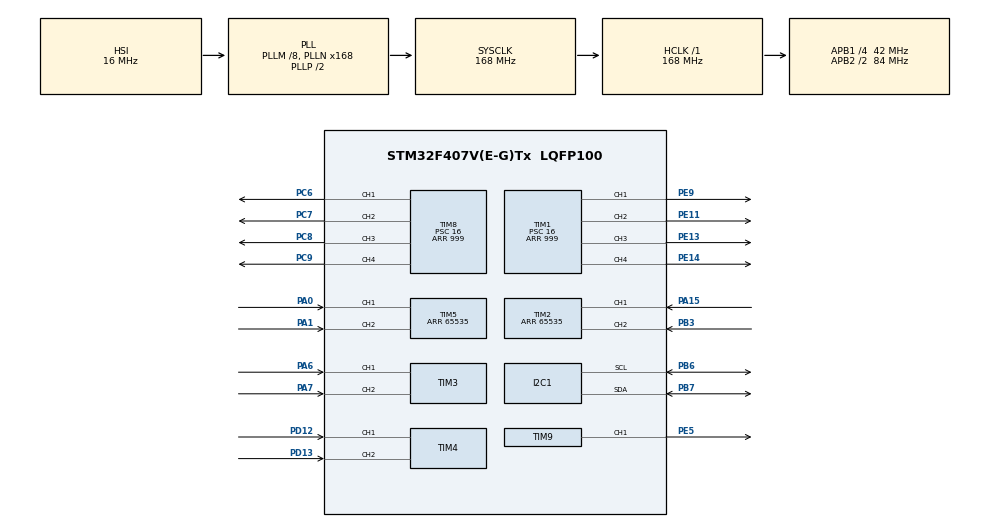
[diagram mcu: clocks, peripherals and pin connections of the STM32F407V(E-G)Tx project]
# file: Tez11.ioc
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Mcu.Family=STM32F4
Mcu.Name=STM32F407V(E-G)Tx
Mcu.Package=LQFP100
NVIC.PriorityGroup=NVIC_PRIORITYGROUP_4
PA0-WKUP.Signal=S_TIM5_CH1
PA1.Signal=S_TIM5_CH2
PA13.Mode=Serial_Wire
PA13.Signal=SYS_JTMS-SWDIO
PA14.Mode=Serial_Wire
PA14.Signal=SYS_JTCK-SWCLK
PA15.Signal=S_TIM2_CH1_ETR
PA6.Signal=S_TIM3_CH1
PA7.Signal=S_TIM3_CH2
PB3.Signal=S_TIM2_CH2
PB6.Mode=I2C
PB6.Signal=I2C1_SCL
PB7.Mode=I2C
PB7.Signal=I2C1_SDA
PC6.Signal=S_TIM8_CH1
PC7.Signal=S_TIM8_CH2
PC8.Signal=S_TIM8_CH3
PC9.Signal=S_TIM8_CH4
PD12.Signal=S_TIM4_CH1
PD13.Signal=S_TIM4_CH2
PE11.Signal=S_TIM1_CH2
PE13.Signal=S_TIM1_CH3
PE14.Signal=S_TIM1_CH4
PE5.Signal=S_TIM9_CH1
PE9.Signal=S_TIM1_CH1
PH0-OSC_IN.Mode=HSE-External-Oscillator
PH0-OSC_IN.Signal=RCC_OSC_IN
PH1-OSC_OUT.Mode=HSE-External-Oscillator
PH1-OSC_OUT.Signal=RCC_OSC_OUT
ProjectManager.HeapSize=0x200
ProjectManager.StackSize=0x400
ProjectManager.TargetToolchain=STM32CubeIDE
RCC.48MHZClocksFreq_Value=84000000
RCC.AHBFreq_Value=168000000
RCC.APB1CLKDivider=RCC_HCLK_DIV4
RCC.APB1Freq_Value=42000000
RCC.APB1TimFreq_Value=84000000
RCC.APB2CLKDivider=RCC_HCLK_DIV2
RCC.APB2Freq_Value=84000000
RCC.APB2TimFreq_Value=168000000
RCC.CortexFreq_Value=168000000
RCC.HCLKFreq_Value=168000000
RCC.HSE_VALUE=25000000
RCC.HSI_VALUE=16000000
RCC.LSE_VALUE=32768
RCC.PLLM=8
RCC.PLLN=168
RCC.SYSCLKFreq_VALUE=168000000
RCC.SYSCLKSource=RCC_SYSCLKSOURCE_PLLCLK
RCC.VCOOutputFreq_Value=336000000
SH.S_TIM1_CH1.0=TIM1_CH1,PWM Generation1 CH1
SH.S_TIM1_CH2.0=TIM1_CH2,PWM Generation2 CH2
SH.S_TIM1_CH3.0=TIM1_CH3,PWM Generation3 CH3
SH.S_TIM1_CH4.0=TIM1_CH4,PWM Generation4 CH4
SH.S_TIM2_CH1_ETR.0=TIM2_CH1,Encoder_Interface
SH.S_TIM2_CH2.0=TIM2_CH2,Encoder_Interface
SH.S_TIM3_CH1.0=TIM3_CH1,Encoder_Interface
SH.S_TIM3_CH2.0=TIM3_CH2,Encoder_Interface
SH.S_TIM4_CH1.0=TIM4_CH1,Encoder_Interface
SH.S_TIM4_CH2.0=TIM4_CH2,Encoder_Interface
SH.S_TIM5_CH1.0=TIM5_CH1,Encoder_Interface
SH.S_TIM5_CH2.0=TIM5_CH2,Encoder_Interface
SH.S_TIM8_CH1.0=TIM8_CH1,PWM Generation1 CH1
SH.S_TIM8_CH2.0=TIM8_CH2,PWM Generation2 CH2
SH.S_TIM8_CH3.0=TIM8_CH3,PWM Generation3 CH3
SH.S_TIM8_CH4.0=TIM8_CH4,PWM Generation4 CH4
SH.S_TIM9_CH1.0=TIM9_CH1,PWM Generation1 CH1
TIM1.Channel-PWM\ Generation1\ CH1=TIM_CHANNEL_1
TIM1.Channel-PWM\ Generation2\ CH2=TIM_CHANNEL_2
TIM1.Channel-PWM\ Generation3\ CH3=TIM_CHANNEL_3
TIM1.Channel-PWM\ Generation4\ CH4=TIM_CHANNEL_4
TIM1.Period=999
TIM1.Prescaler=16
TIM2.EncoderMode=TIM_ENCODERMODE_TI12
TIM2.IC1Filter=10
TIM2.IC2Filter=10
TIM2.Period=65535
TIM3.EncoderMode=TIM_ENCODERMODE_TI12
TIM3.IC1Filter=10
TIM3.IC2Filter=10
TIM4.EncoderMode=TIM_ENCODERMODE_TI12
TIM4.IC1Filter=10
TIM4.IC2Filter=10
TIM5.EncoderMode=TIM_ENCODERMODE_TI12
TIM5.IC1Filter=10
TIM5.IC2Filter=10
TIM5.Period=65535
TIM8.Channel-PWM\ Generation1\ CH1=TIM_CHANNEL_1
TIM8.Channel-PWM\ Generation2\ CH2=TIM_CHANNEL_2
TIM8.Channel-PWM\ Generation3\ CH3=TIM_CHANNEL_3
TIM8.Channel-PWM\ Generation4\ CH4=TIM_CHANNEL_4
TIM8.Period=999
TIM8.Prescaler=16
TIM9.Channel-PWM\ Generation1\ CH1=TIM_CHANNEL_1
TIM9.Period=19999
TIM9.Prescaler=167
VP_TIM1_VS_ClockSourceINT.Mode=Internal
VP_TIM8_VS_ClockSourceINT.Mode=Internal
VP_TIM9_VS_ClockSourceINT.Mode=Internal
board=custom

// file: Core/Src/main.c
/* USER CODE BEGIN Header */
/**
  ******************************************************************************
  * @file           : main.c
  * @brief          : Main program body
  ******************************************************************************
  * @attention
  *
  * Copyright (c) 2025 STMicroelectronics.
  * All rights reserved.
  *
  * This software is licensed under terms that can be found in the LICENSE file
  * in the root directory of this software component.
  * If no LICENSE file comes with this software, it is provided AS-IS.
  *
  ******************************************************************************
  */
/* USER CODE END Header */
#include "main.h"

/* USER CODE BEGIN Includes */

#include <math.h> // Sin, Cos, Atan2 için şart!
#include <stdlib.h> // abs() fonksiyonu için

// --- ROBOT FİZİKSEL ÖLÇÜLERİ (mm) ---
#define D1_BASE_YUKSEKLIK  43.0f
#define A2_OMUZ_UZUNLUK    155.2f
#define A3_DIRSEK_UZUNLUK  128.2f
#define A4_BILEK_UZUNLUK   193.4f

// Matematik Sabitleri
#define PI 3.14159265f
#define RAD2DEG 57.2957795f
#define DEG2RAD 0.01745329f

/* USER CODE END Includes */

/* USER CODE BEGIN PTD */
// Durum Tanımları

typedef struct {
    // --- DONANIM ---
    TIM_HandleTypeDef *pwm_timer;
    uint32_t pwm_ch_ileri;
    uint32_t pwm_ch_geri;
    TIM_HandleTypeDef *enc_timer;

    // --- AYARLAR ---
    float Kp;
    float Ki;
    float Kd;
    int max_hiz;
    int min_hiz;
    int olu_bolge;

    int yon_carpani; // 1: Normal, -1: Ters (Hem encoder hem motoru tersler)

    // --- KONTROL ---
    volatile float hedef_aci;
    volatile float anlik_aci;  // <--- YENİ: ŞU ANKİ AÇI (Debug için)
    volatile int32_t hedef_pulse;
    volatile int32_t anlik_pulse;
    volatile int32_t hata;

    // --- PID HAFIZASI ---
    float toplam_hata;
    float onceki_hata;

} RobotEklemi;

/* USER CODE END PTD */

I2C_HandleTypeDef hi2c1;

TIM_HandleTypeDef htim1;
TIM_HandleTypeDef htim2;
TIM_HandleTypeDef htim3;
TIM_HandleTypeDef htim4;
TIM_HandleTypeDef htim5;
TIM_HandleTypeDef htim8;
TIM_HandleTypeDef htim9;

/* USER CODE BEGIN PV */

// Global Değişkenler
RobotEklemi robot[4]; // 0:Taban, 1:Omuz, 2:Dirsek, 3:Bilek

// DİKKAT: Kalibrasyon sonucuna göre bunu değiştireceğiz!
// Şimdilik eski hesap dursun. (5 Derece testi ile güncelleyeceğiz)
float ADIM_KATSAYISI = 20.53f;

// Kinematik için Ofsetler (Gerekirse açılar saparsa buradan düzeltilir)
// Örn: Robot dik dururken encoder 0 ise ama matematik 90 diyorsa, buraya 90 yazarız.
float OFFSET_TABAN = 0.0f;
float OFFSET_OMUZ = 0.0f;
float OFFSET_DIRSEK = 0.0f;
float OFFSET_BILEK = -10.0f;

// 1. Sensör Adresleri (Datasheet'ten aldık)
#define TCS34725_ADDRESS (0x29 << 1)
#define TCS34725_ID      0x12        // Kimlik Register Adresi (Yeni)
#define TCS34725_COMMAND 0x80        // Komut biti (Yeni)
#define TCS34725_ENABLE  0x00
#define TCS34725_ATIME   0x01
#define TCS34725_CDATAL  0x14
// 3. Sensör Kimliği (Bağlantı Testi İçin)
// Eğer bağlantı sağlamsa bu değişken 0x44 (68) olacak.
volatile uint8_t sensor_id = 0;
// Sensör Verileri (Live Watch)
volatile uint16_t renk_clear, renk_kirmizi, renk_yesil, renk_mavi;
volatile int hedef_kutu = 0;

/* USER CODE END PV */

void SystemClock_Config(void);
static void MX_GPIO_Init(void);
static void MX_TIM1_Init(void);
static void MX_TIM2_Init(void);
static void MX_TIM3_Init(void);
static void MX_TIM4_Init(void);
static void MX_TIM5_Init(void);
static void MX_TIM8_Init(void);
static void MX_I2C1_Init(void);
static void MX_TIM9_Init(void);
/* USER CODE BEGIN PFP */

void Motor_Guncelle(RobotEklemi *eklem);
void Robotu_Senkron_Tasi(float aci0, float aci1, float aci2, float aci3);
int Hareket_Tamamlandi_Mi(void);
void IK_Git(float x, float y, float z, float phi_derece);
void Senaryoyu_Baslat(void);
void Hedefe_Yavas_Git(float aci0, float aci1, float aci2, float aci3, int bekleme_hizi_ms);
void IK_ile_Yavas_Git(float x, float y, float z, float phi_derece, int bekleme_hizi_ms);
// --- YENİ KONUM FONKSİYONLARI ---
void Git_Home(void);
void Git_Hazne(void);
void Git_Kutu_1(void);
void Git_Kutu_2(void);
void Git_Kutu_3(void);
void Git_Kutu_4(void);

// --YERİNDE KALMASI İÇİN--
void Aktif_Bekle(int sure_ms);

/* SERVO AYARLARI (MG90S - Sürekli Dönen Tip İçin) */
#define SERVO_TIMER     &htim9         // Senin Servo Timer'ın hangisiyse onu yaz (htim1, htim9 vb.)
#define SERVO_KANAL     TIM_CHANNEL_1  // Bağladığın Kanal (CH1, CH2 vb.)
//Servo
void Gripper_Ac(void);
void Gripper_Kapat(void);
void Servo_Pulse_Ver(uint32_t pulse);
// Arduino'daki değerlerin karşılığı:
#define SERVO_DUR_PULSE   1500  // (90 Derece) - Motoru Kilitler/Durdurur
#define SERVO_AC_PULSE    2000  // (113 Derece) - Sola yavaşça döner
#define SERVO_KAPAT_PULSE 1000  // (72 Derece) - Sağa yavaşça döner

//  Sensör
void TCS34725_Baslat(void);
void TCS34725_Oku(void);
int Sensor_Kutu_Var_Mi(void);
int Rengi_Analiz_Et(void);
/* USER CODE END PFP */

int main(void)
{

  /* MCU Configuration--------------------------------------------------------*/

  /* Reset of all peripherals, Initializes the Flash interface and the Systick. */

	HAL_Init();

  /* Configure the system clock */
  SystemClock_Config();

  /* Initialize all configured peripherals */
  MX_GPIO_Init();
  MX_TIM1_Init();
  MX_TIM2_Init();
  MX_TIM3_Init();
  MX_TIM4_Init();
  MX_TIM5_Init();
  MX_TIM8_Init();
  MX_I2C1_Init();
  MX_TIM9_Init();
  /* USER CODE BEGIN 2 */

  // --- A) DONANIM BAŞLATMA ---
    HAL_TIM_PWM_Start(&htim8, TIM_CHANNEL_1); HAL_TIM_PWM_Start(&htim8, TIM_CHANNEL_2);
    HAL_TIM_PWM_Start(&htim8, TIM_CHANNEL_3); HAL_TIM_PWM_Start(&htim8, TIM_CHANNEL_4);
    HAL_TIM_PWM_Start(&htim1, TIM_CHANNEL_1); HAL_TIM_PWM_Start(&htim1, TIM_CHANNEL_2);
    HAL_TIM_PWM_Start(&htim1, TIM_CHANNEL_3); HAL_TIM_PWM_Start(&htim1, TIM_CHANNEL_4);

    HAL_TIM_Encoder_Start(&htim2, TIM_CHANNEL_ALL);
    HAL_TIM_Encoder_Start(&htim5, TIM_CHANNEL_ALL);
    HAL_TIM_Encoder_Start(&htim3, TIM_CHANNEL_ALL);
    HAL_TIM_Encoder_Start(&htim4, TIM_CHANNEL_ALL);

    __HAL_TIM_MOE_ENABLE(&htim1);
    __HAL_TIM_MOE_ENABLE(&htim8);

    // Sensörü Başlat (I2C)
    TCS34725_Baslat();

    // --- B) MOTOR AYARLARI (GÜNCEL & GÜVENLİ) ---

    // MOTOR 0: TABAN
    robot[0].pwm_timer = &htim8; robot[0].pwm_ch_ileri = TIM_CHANNEL_1; robot[0].pwm_ch_geri = TIM_CHANNEL_2;
    robot[0].enc_timer = &htim2;
    robot[0].yon_carpani = 1; // <-- BU DÜZ KALSIN
    robot[0].Kp = 1.5; robot[0].Ki = 0.08; robot[0].Kd = 90.0; // Taban yanal yük taşır, Ki kapalı
    robot[0].max_hiz = 350; robot[0].min_hiz = 0.05; robot[0].olu_bolge = 5;

    // MOTOR 1: OMUZ (Kritik - Ki SIFIRLANDI)
    robot[1].pwm_timer = &htim8; robot[1].pwm_ch_ileri = TIM_CHANNEL_3; robot[1].pwm_ch_geri = TIM_CHANNEL_4;
    robot[1].enc_timer = &htim5;
    robot[1].yon_carpani = -1; // <-- BU TERSLENMELİ
    robot[1].Kp = 3.80; robot[1].Ki = 0.20; robot[1].Kd = 78.0; // Yüksek Kd frenleme yapar
    robot[1].max_hiz = 500; robot[1].min_hiz = 270.0; robot[1].olu_bolge = 4;

    // MOTOR 2: DİRSEK
    robot[2].pwm_timer = &htim1; robot[2].pwm_ch_ileri = TIM_CHANNEL_1; robot[2].pwm_ch_geri = TIM_CHANNEL_2;
    robot[2].enc_timer = &htim3;
    robot[2].yon_carpani = 1; // <-- BU DÜZ KALSIN
    robot[2].Kp = 2.38; robot[2].Ki = 0.08; robot[2].Kd = 52.0;
    robot[2].max_hiz = 350; robot[2].min_hiz = 250; robot[2].olu_bolge = 5;

    // MOTOR 3: BİLEK
    robot[3].pwm_timer = &htim1; robot[3].pwm_ch_ileri = TIM_CHANNEL_3; robot[3].pwm_ch_geri = TIM_CHANNEL_4;
    robot[3].enc_timer = &htim4;
    robot[3].yon_carpani = -1; // <-- BU TERSLENMELİ
    robot[3].Kp = 1.2; robot[3].Ki = 0.03; robot[3].Kd = 30.0;
    robot[3].max_hiz = 300; robot[3].min_hiz = 150; robot[3].olu_bolge = 5;

  /* USER CODE END 2 */

  /* Infinite loop */
  /* USER CODE BEGIN WHILE */

    // ---------------------------------------------------------
        // 1. AŞAMA: GÜVENLİ AÇILIŞ (Mevcut Konumu Kilitle) 🔒
        // ---------------------------------------------------------
        for(int i=0; i<4; i++) {
            // Tüm encoderları (16-bit/32-bit fark etmez) standart oku
            int32_t anlik_konum;
            if(robot[i].enc_timer->Instance == TIM3 || robot[i].enc_timer->Instance == TIM4)
                 anlik_konum = (int32_t)((int16_t)__HAL_TIM_GET_COUNTER(robot[i].enc_timer));
            else anlik_konum = (int32_t)__HAL_TIM_GET_COUNTER(robot[i].enc_timer);

            // ---> BURASI ÖNEMLİ: Açılışta da konumu yön ayarına göre düzelt <---
                anlik_konum = anlik_konum * robot[i].yon_carpani;

            // Hedefi anlık konuma eşitle (Hata = 0)
            robot[i].anlik_pulse = anlik_konum;
            robot[i].hedef_pulse = anlik_konum;

            // Açıyı güncelle (Yoksa motor kendini 0 sanıp fırlar!)
            robot[i].hedef_aci = (float)anlik_konum / ADIM_KATSAYISI;
            robot[i].hedef_aci = robot[i].anlik_aci;

            robot[i].toplam_hata = 0;
            robot[i].onceki_hata = 0;
        }

        // ---------------------------------------------------------
        // 2. AŞAMA: 2 SANİYE ISINMA (Active Hold) ⏳
        // ---------------------------------------------------------
        // Elini çekmen için süre. Motorlar seni itecek, düşmeyecek.
        uint32_t baslangic = HAL_GetTick();
        while((HAL_GetTick() - baslangic) < 2000) {
            for(int i=0; i<4; i++) Motor_Guncelle(&robot[i]);
            HAL_Delay(10);
        }

        // =========================================================
            // 🚀 3. AŞAMA: GÖREV ALANI (GÜNCELLENDİ)
            // =========================================================

            // ÖRNEK: Home'a git ve 5 saniye orada KİLİTLİ kal.

            // 1. Fonksiyonu çağır (Gidip duracak)
        //    Git_Home();
            // 2. Beklerken SALMAMASI için Aktif_Bekle kullan
      //      Aktif_Bekle(5000); // 5 saniye boyunca PID çalışır, kol düşmez.
    //        Git_Kutu_1();
    //        Aktif_Bekle(5000);
    //        Git_Home();
            // ---------------------------------------------------------
            // ÖRNEK 2: Hazneye git
            // Git_Hazne();
            // Aktif_Bekle(2000);

            // =========================================================
	      Git_Home();
	      Aktif_Bekle(2000);
	      Gripper_Ac();
  while (1)
  {
	  // PID sürekli canlı kalsın (Robot kendini tutsun)
	  //      for(int i=0; i<4; i++)Motor_Guncelle(&robot[i]);
	  //      HAL_Delay(1);
	  //TCS34725_Oku();
	  //Rengi_Analiz_Et();

	      // 2. ADIM: RENK ANALİZİ YAP
	      hedef_kutu = Rengi_Analiz_Et();
	      // --- SENARYO A: KUTU YOK ---
	          if (hedef_kutu == 0) {
	               // Kutu yoksa boşuna yorulma, 1 saniye bekle tekrar bak
	               Aktif_Bekle(1000);
	               // (Döngü başa döner, robot haznede beklemeye devam eder)
	          }
	          // --- SENARYO B: KUTU VAR (RENK BULUNDU) ---
	          else {
	        	  Aktif_Bekle(2000);
                  Git_Hazne();
                  Aktif_Bekle(2000);
                  Gripper_Kapat();
                  Aktif_Bekle(2000);
                  Git_Home();
                  Aktif_Bekle(2000);
                  // 3. Rengine Göre Kutuya Git
                            if (hedef_kutu == 1) {
                                Git_Kutu_1(); // Kırmızı
                                Aktif_Bekle(2000);
                            }
                            else if (hedef_kutu == 2) {
                                Git_Kutu_2(); // Mavi
                                Aktif_Bekle(2000);
                            }
                            else if (hedef_kutu == 3) {
                                Git_Kutu_3(); // Yeşil
                                Aktif_Bekle(2000);
                            }
                            else {
                                Git_Kutu_4(); // Sarı
                                Aktif_Bekle(2000);
                            }
                  Gripper_Ac();
                  Aktif_Bekle(2000);
                  Gripper_Kapat();
                  Aktif_Bekle(1000);
                  Git_Home();
                  Aktif_Bekle(1000);
                  Gripper_Ac();
                  Aktif_Bekle(1000);
	          }

    /* USER CODE END WHILE */

  }
}

void SystemClock_Config(void)
{
  RCC_OscInitTypeDef RCC_OscInitStruct = {0};
  RCC_ClkInitTypeDef RCC_ClkInitStruct = {0};

  /** Configure the main internal regulator output voltage
  */
  __HAL_RCC_PWR_CLK_ENABLE();
  __HAL_PWR_VOLTAGESCALING_CONFIG(PWR_REGULATOR_VOLTAGE_SCALE1);

  /** Initializes the RCC Oscillators according to the specified parameters
  * in the RCC_OscInitTypeDef structure.
  */
  RCC_OscInitStruct.OscillatorType = RCC_OSCILLATORTYPE_HSI;
  RCC_OscInitStruct.HSIState = RCC_HSI_ON;
  RCC_OscInitStruct.HSICalibrationValue = RCC_HSICALIBRATION_DEFAULT;
  RCC_OscInitStruct.PLL.PLLState = RCC_PLL_ON;
  RCC_OscInitStruct.PLL.PLLSource = RCC_PLLSOURCE_HSI;
  RCC_OscInitStruct.PLL.PLLM = 8;
  RCC_OscInitStruct.PLL.PLLN = 168;
  RCC_OscInitStruct.PLL.PLLP = RCC_PLLP_DIV2;
  RCC_OscInitStruct.PLL.PLLQ = 4;
  if (HAL_RCC_OscConfig(&RCC_OscInitStruct) != HAL_OK)
  {
    Error_Handler();
  }

  /** Initializes the CPU, AHB and APB buses clocks
  */
  RCC_ClkInitStruct.ClockType = RCC_CLOCKTYPE_HCLK|RCC_CLOCKTYPE_SYSCLK
                              |RCC_CLOCKTYPE_PCLK1|RCC_CLOCKTYPE_PCLK2;
  RCC_ClkInitStruct.SYSCLKSource = RCC_SYSCLKSOURCE_PLLCLK;
  RCC_ClkInitStruct.AHBCLKDivider = RCC_SYSCLK_DIV1;
  RCC_ClkInitStruct.APB1CLKDivider = RCC_HCLK_DIV4;
  RCC_ClkInitStruct.APB2CLKDivider = RCC_HCLK_DIV2;

  if (HAL_RCC_ClockConfig(&RCC_ClkInitStruct, FLASH_LATENCY_5) != HAL_OK)
  {
    Error_Handler();
  }
}

static void MX_I2C1_Init(void)
{

  hi2c1.Instance = I2C1;
  hi2c1.Init.ClockSpeed = 100000;
  hi2c1.Init.DutyCycle = I2C_DUTYCYCLE_2;
  hi2c1.Init.OwnAddress1 = 0;
  hi2c1.Init.AddressingMode = I2C_ADDRESSINGMODE_7BIT;
  hi2c1.Init.DualAddressMode = I2C_DUALADDRESS_DISABLE;
  hi2c1.Init.OwnAddress2 = 0;
  hi2c1.Init.GeneralCallMode = I2C_GENERALCALL_DISABLE;
  hi2c1.Init.NoStretchMode = I2C_NOSTRETCH_DISABLE;
  if (HAL_I2C_Init(&hi2c1) != HAL_OK)
  {
    Error_Handler();
  }

}

static void MX_TIM1_Init(void)
{

  TIM_ClockConfigTypeDef sClockSourceConfig = {0};
  TIM_MasterConfigTypeDef sMasterConfig = {0};
  TIM_OC_InitTypeDef sConfigOC = {0};
  TIM_BreakDeadTimeConfigTypeDef sBreakDeadTimeConfig = {0};

  htim1.Instance = TIM1;
  htim1.Init.Prescaler = 16;
  htim1.Init.CounterMode = TIM_COUNTERMODE_UP;
  htim1.Init.Period = 999;
  htim1.Init.ClockDivision = TIM_CLOCKDIVISION_DIV1;
  htim1.Init.RepetitionCounter = 0;
  htim1.Init.AutoReloadPreload = TIM_AUTORELOAD_PRELOAD_DISABLE;
  if (HAL_TIM_Base_Init(&htim1) != HAL_OK)
  {
    Error_Handler();
  }
  sClockSourceConfig.ClockSource = TIM_CLOCKSOURCE_INTERNAL;
  if (HAL_TIM_ConfigClockSource(&htim1, &sClockSourceConfig) != HAL_OK)
  {
    Error_Handler();
  }
  if (HAL_TIM_PWM_Init(&htim1) != HAL_OK)
  {
    Error_Handler();
  }
  sMasterConfig.MasterOutputTrigger = TIM_TRGO_RESET;
  sMasterConfig.MasterSlaveMode = TIM_MASTERSLAVEMODE_DISABLE;
  if (HAL_TIMEx_MasterConfigSynchronization(&htim1, &sMasterConfig) != HAL_OK)
  {
    Error_Handler();
  }
  sConfigOC.OCMode = TIM_OCMODE_PWM1;
  sConfigOC.Pulse = 0;
  sConfigOC.OCPolarity = TIM_OCPOLARITY_HIGH;
  sConfigOC.OCNPolarity = TIM_OCNPOLARITY_HIGH;
  sConfigOC.OCFastMode = TIM_OCFAST_DISABLE;
  sConfigOC.OCIdleState = TIM_OCIDLESTATE_RESET;
  sConfigOC.OCNIdleState = TIM_OCNIDLESTATE_RESET;
  if (HAL_TIM_PWM_ConfigChannel(&htim1, &sConfigOC, TIM_CHANNEL_1) != HAL_OK)
  {
    Error_Handler();
  }
  if (HAL_TIM_PWM_ConfigChannel(&htim1, &sConfigOC, TIM_CHANNEL_2) != HAL_OK)
  {
    Error_Handler();
  }
  if (HAL_TIM_PWM_ConfigChannel(&htim1, &sConfigOC, TIM_CHANNEL_3) != HAL_OK)
  {
    Error_Handler();
  }
  if (HAL_TIM_PWM_ConfigChannel(&htim1, &sConfigOC, TIM_CHANNEL_4) != HAL_OK)
  {
    Error_Handler();
  }
  sBreakDeadTimeConfig.OffStateRunMode = TIM_OSSR_DISABLE;
  sBreakDeadTimeConfig.OffStateIDLEMode = TIM_OSSI_DISABLE;
  sBreakDeadTimeConfig.LockLevel = TIM_LOCKLEVEL_OFF;
  sBreakDeadTimeConfig.DeadTime = 0;
  sBreakDeadTimeConfig.BreakState = TIM_BREAK_DISABLE;
  sBreakDeadTimeConfig.BreakPolarity = TIM_BREAKPOLARITY_HIGH;
  sBreakDeadTimeConfig.AutomaticOutput = TIM_AUTOMATICOUTPUT_DISABLE;
  if (HAL_TIMEx_ConfigBreakDeadTime(&htim1, &sBreakDeadTimeConfig) != HAL_OK)
  {
    Error_Handler();
  }
  HAL_TIM_MspPostInit(&htim1);

}

static void MX_TIM2_Init(void)
{

  TIM_Encoder_InitTypeDef sConfig = {0};
  TIM_MasterConfigTypeDef sMasterConfig = {0};

  htim2.Instance = TIM2;
  htim2.Init.Prescaler = 0;
  htim2.Init.CounterMode = TIM_COUNTERMODE_UP;
  htim2.Init.Period = 65535;
  htim2.Init.ClockDivision = TIM_CLOCKDIVISION_DIV1;
  htim2.Init.AutoReloadPreload = TIM_AUTORELOAD_PRELOAD_DISABLE;
  sConfig.EncoderMode = TIM_ENCODERMODE_TI12;
  sConfig.IC1Polarity = TIM_ICPOLARITY_RISING;
  sConfig.IC1Selection = TIM_ICSELECTION_DIRECTTI;
  sConfig.IC1Prescaler = TIM_ICPSC_DIV1;
  sConfig.IC1Filter = 10;
  sConfig.IC2Polarity = TIM_ICPOLARITY_RISING;
  sConfig.IC2Selection = TIM_ICSELECTION_DIRECTTI;
  sConfig.IC2Prescaler = TIM_ICPSC_DIV1;
  sConfig.IC2Filter = 10;
  if (HAL_TIM_Encoder_Init(&htim2, &sConfig) != HAL_OK)
  {
    Error_Handler();
  }
  sMasterConfig.MasterOutputTrigger = TIM_TRGO_RESET;
  sMasterConfig.MasterSlaveMode = TIM_MASTERSLAVEMODE_DISABLE;
  if (HAL_TIMEx_MasterConfigSynchronization(&htim2, &sMasterConfig) != HAL_OK)
  {
    Error_Handler();
  }

}

static void MX_TIM3_Init(void)
{

  TIM_Encoder_InitTypeDef sConfig = {0};
  TIM_MasterConfigTypeDef sMasterConfig = {0};

  htim3.Instance = TIM3;
  htim3.Init.Prescaler = 0;
  htim3.Init.CounterMode = TIM_COUNTERMODE_UP;
  htim3.Init.Period = 65535;
  htim3.Init.ClockDivision = TIM_CLOCKDIVISION_DIV1;
  htim3.Init.AutoReloadPreload = TIM_AUTORELOAD_PRELOAD_DISABLE;
  sConfig.EncoderMode = TIM_ENCODERMODE_TI12;
  sConfig.IC1Polarity = TIM_ICPOLARITY_RISING;
  sConfig.IC1Selection = TIM_ICSELECTION_DIRECTTI;
  sConfig.IC1Prescaler = TIM_ICPSC_DIV1;
  sConfig.IC1Filter = 10;
  sConfig.IC2Polarity = TIM_ICPOLARITY_RISING;
  sConfig.IC2Selection = TIM_ICSELECTION_DIRECTTI;
  sConfig.IC2Prescaler = TIM_ICPSC_DIV1;
  sConfig.IC2Filter = 10;
  if (HAL_TIM_Encoder_Init(&htim3, &sConfig) != HAL_OK)
  {
    Error_Handler();
  }
  sMasterConfig.MasterOutputTrigger = TIM_TRGO_RESET;
  sMasterConfig.MasterSlaveMode = TIM_MASTERSLAVEMODE_DISABLE;
  if (HAL_TIMEx_MasterConfigSynchronization(&htim3, &sMasterConfig) != HAL_OK)
  {
    Error_Handler();
  }

}

static void MX_TIM4_Init(void)
{

  TIM_Encoder_InitTypeDef sConfig = {0};
  TIM_MasterConfigTypeDef sMasterConfig = {0};

  htim4.Instance = TIM4;
  htim4.Init.Prescaler = 0;
  htim4.Init.CounterMode = TIM_COUNTERMODE_UP;
  htim4.Init.Period = 65535;
  htim4.Init.ClockDivision = TIM_CLOCKDIVISION_DIV1;
  htim4.Init.AutoReloadPreload = TIM_AUTORELOAD_PRELOAD_DISABLE;
  sConfig.EncoderMode = TIM_ENCODERMODE_TI12;
  sConfig.IC1Polarity = TIM_ICPOLARITY_RISING;
  sConfig.IC1Selection = TIM_ICSELECTION_DIRECTTI;
  sConfig.IC1Prescaler = TIM_ICPSC_DIV1;
  sConfig.IC1Filter = 10;
  sConfig.IC2Polarity = TIM_ICPOLARITY_RISING;
  sConfig.IC2Selection = TIM_ICSELECTION_DIRECTTI;
  sConfig.IC2Prescaler = TIM_ICPSC_DIV1;
  sConfig.IC2Filter = 10;
  if (HAL_TIM_Encoder_Init(&htim4, &sConfig) != HAL_OK)
  {
    Error_Handler();
  }
  sMasterConfig.MasterOutputTrigger = TIM_TRGO_RESET;
  sMasterConfig.MasterSlaveMode = TIM_MASTERSLAVEMODE_DISABLE;
  if (HAL_TIMEx_MasterConfigSynchronization(&htim4, &sMasterConfig) != HAL_OK)
  {
    Error_Handler();
  }

}

static void MX_TIM5_Init(void)
{

  TIM_Encoder_InitTypeDef sConfig = {0};
  TIM_MasterConfigTypeDef sMasterConfig = {0};

  htim5.Instance = TIM5;
  htim5.Init.Prescaler = 0;
  htim5.Init.CounterMode = TIM_COUNTERMODE_UP;
  htim5.Init.Period = 65535;
  htim5.Init.ClockDivision = TIM_CLOCKDIVISION_DIV1;
  htim5.Init.AutoReloadPreload = TIM_AUTORELOAD_PRELOAD_DISABLE;
  sConfig.EncoderMode = TIM_ENCODERMODE_TI12;
  sConfig.IC1Polarity = TIM_ICPOLARITY_RISING;
  sConfig.IC1Selection = TIM_ICSELECTION_DIRECTTI;
  sConfig.IC1Prescaler = TIM_ICPSC_DIV1;
  sConfig.IC1Filter = 10;
  sConfig.IC2Polarity = TIM_ICPOLARITY_RISING;
  sConfig.IC2Selection = TIM_ICSELECTION_DIRECTTI;
  sConfig.IC2Prescaler = TIM_ICPSC_DIV1;
  sConfig.IC2Filter = 10;
  if (HAL_TIM_Encoder_Init(&htim5, &sConfig) != HAL_OK)
  {
    Error_Handler();
  }
  sMasterConfig.MasterOutputTrigger = TIM_TRGO_RESET;
  sMasterConfig.MasterSlaveMode = TIM_MASTERSLAVEMODE_DISABLE;
  if (HAL_TIMEx_MasterConfigSynchronization(&htim5, &sMasterConfig) != HAL_OK)
  {
    Error_Handler();
  }

}

static void MX_TIM8_Init(void)
{

  TIM_ClockConfigTypeDef sClockSourceConfig = {0};
  TIM_MasterConfigTypeDef sMasterConfig = {0};
  TIM_OC_InitTypeDef sConfigOC = {0};
  TIM_BreakDeadTimeConfigTypeDef sBreakDeadTimeConfig = {0};

  htim8.Instance = TIM8;
  htim8.Init.Prescaler = 16;
  htim8.Init.CounterMode = TIM_COUNTERMODE_UP;
  htim8.Init.Period = 999;
  htim8.Init.ClockDivision = TIM_CLOCKDIVISION_DIV1;
  htim8.Init.RepetitionCounter = 0;
  htim8.Init.AutoReloadPreload = TIM_AUTORELOAD_PRELOAD_DISABLE;
  if (HAL_TIM_Base_Init(&htim8) != HAL_OK)
  {
    Error_Handler();
  }
  sClockSourceConfig.ClockSource = TIM_CLOCKSOURCE_INTERNAL;
  if (HAL_TIM_ConfigClockSource(&htim8, &sClockSourceConfig) != HAL_OK)
  {
    Error_Handler();
  }
  if (HAL_TIM_PWM_Init(&htim8) != HAL_OK)
  {
    Error_Handler();
  }
  sMasterConfig.MasterOutputTrigger = TIM_TRGO_RESET;
  sMasterConfig.MasterSlaveMode = TIM_MASTERSLAVEMODE_DISABLE;
  if (HAL_TIMEx_MasterConfigSynchronization(&htim8, &sMasterConfig) != HAL_OK)
  {
    Error_Handler();
  }
  sConfigOC.OCMode = TIM_OCMODE_PWM1;
  sConfigOC.Pulse = 0;
  sConfigOC.OCPolarity = TIM_OCPOLARITY_HIGH;
  sConfigOC.OCNPolarity = TIM_OCNPOLARITY_HIGH;
  sConfigOC.OCFastMode = TIM_OCFAST_DISABLE;
  sConfigOC.OCIdleState = TIM_OCIDLESTATE_RESET;
  sConfigOC.OCNIdleState = TIM_OCNIDLESTATE_RESET;
  if (HAL_TIM_PWM_ConfigChannel(&htim8, &sConfigOC, TIM_CHANNEL_1) != HAL_OK)
  {
    Error_Handler();
  }
  if (HAL_TIM_PWM_ConfigChannel(&htim8, &sConfigOC, TIM_CHANNEL_2) != HAL_OK)
  {
    Error_Handler();
  }
  if (HAL_TIM_PWM_ConfigChannel(&htim8, &sConfigOC, TIM_CHANNEL_3) != HAL_OK)
  {
    Error_Handler();
  }
  if (HAL_TIM_PWM_ConfigChannel(&htim8, &sConfigOC, TIM_CHANNEL_4) != HAL_OK)
  {
    Error_Handler();
  }
  sBreakDeadTimeConfig.OffStateRunMode = TIM_OSSR_DISABLE;
  sBreakDeadTimeConfig.OffStateIDLEMode = TIM_OSSI_DISABLE;
  sBreakDeadTimeConfig.LockLevel = TIM_LOCKLEVEL_OFF;
  sBreakDeadTimeConfig.DeadTime = 0;
  sBreakDeadTimeConfig.BreakState = TIM_BREAK_DISABLE;
  sBreakDeadTimeConfig.BreakPolarity = TIM_BREAKPOLARITY_HIGH;
  sBreakDeadTimeConfig.AutomaticOutput = TIM_AUTOMATICOUTPUT_DISABLE;
  if (HAL_TIMEx_ConfigBreakDeadTime(&htim8, &sBreakDeadTimeConfig) != HAL_OK)
  {
    Error_Handler();
  }
  HAL_TIM_MspPostInit(&htim8);

}

static void MX_TIM9_Init(void)
{

  TIM_ClockConfigTypeDef sClockSourceConfig = {0};
  TIM_OC_InitTypeDef sConfigOC = {0};

  htim9.Instance = TIM9;
  htim9.Init.Prescaler = 167;
  htim9.Init.CounterMode = TIM_COUNTERMODE_UP;
  htim9.Init.Period = 19999;
  htim9.Init.ClockDivision = TIM_CLOCKDIVISION_DIV1;
  htim9.Init.AutoReloadPreload = TIM_AUTORELOAD_PRELOAD_DISABLE;
  if (HAL_TIM_Base_Init(&htim9) != HAL_OK)
  {
    Error_Handler();
  }
  sClockSourceConfig.ClockSource = TIM_CLOCKSOURCE_INTERNAL;
  if (HAL_TIM_ConfigClockSource(&htim9, &sClockSourceConfig) != HAL_OK)
  {
    Error_Handler();
  }
  if (HAL_TIM_PWM_Init(&htim9) != HAL_OK)
  {
    Error_Handler();
  }
  sConfigOC.OCMode = TIM_OCMODE_PWM1;
  sConfigOC.Pulse = 0;
  sConfigOC.OCPolarity = TIM_OCPOLARITY_HIGH;
  sConfigOC.OCFastMode = TIM_OCFAST_DISABLE;
  if (HAL_TIM_PWM_ConfigChannel(&htim9, &sConfigOC, TIM_CHANNEL_1) != HAL_OK)
  {
    Error_Handler();
  }
  HAL_TIM_MspPostInit(&htim9);

}

static void MX_GPIO_Init(void)
{

  /* GPIO Ports Clock Enable */
  __HAL_RCC_GPIOE_CLK_ENABLE();
  __HAL_RCC_GPIOH_CLK_ENABLE();
  __HAL_RCC_GPIOA_CLK_ENABLE();
  __HAL_RCC_GPIOD_CLK_ENABLE();
  __HAL_RCC_GPIOC_CLK_ENABLE();
  __HAL_RCC_GPIOB_CLK_ENABLE();

}

/* USER CODE BEGIN 4 */

// --- 1. MOTOR GÜNCELLEME (BEYİN - İYİLEŞTİRİLMİŞ) ---
void Motor_Guncelle(RobotEklemi *eklem) {
	// 1. ADIM: ENCODER OKUMA VE YÖN DÜZELTME
	// önce 16-bit'e (int16_t) zorluyoruz.
	    // Bu sayede sayaç 0'dan geri gidip 65535 olduğunda, işlemci bunu
	    // "+65535" değil, "-1" olarak algılayacak. Sıçrama bitecek.
	    int16_t ham_16bit = (int16_t)__HAL_TIM_GET_COUNTER(eklem->enc_timer);
	    int32_t ham_konum = (int32_t)ham_16bit;

	    // GÖZÜMÜZÜ TERSLİYORUZ: Eğer çarpan -1 ise, encoder -100 okuduğunda biz +100 göreceğiz.
	    eklem->anlik_pulse = ham_konum * eklem->yon_carpani;

	    // Bunu Live Watch'ta "anlik_aci" olarak göreceksin.
	        eklem->anlik_aci = (float)eklem->anlik_pulse / ADIM_KATSAYISI;

	    // B) HATA HESABI
	    eklem->hata = eklem->hedef_pulse - eklem->anlik_pulse;

	    // C) DEADZONE
	    if (abs(eklem->hata) < eklem->olu_bolge) {
	        eklem->hata = 0;
	       // eklem->toplam_hata = 0;
	    }

	    // D) PID
	    float P = eklem->hata * eklem->Kp;

	    eklem->toplam_hata += eklem->hata;
	    if(eklem->toplam_hata > 2000) eklem->toplam_hata = 2000;
	    if(eklem->toplam_hata < -2000) eklem->toplam_hata = -2000;

	    float I = eklem->toplam_hata * eklem->Ki;
	    float D = (eklem->hata - eklem->onceki_hata) * eklem->Kd;
	    eklem->onceki_hata = eklem->hata;

	    int pwm_cikis = (int)(P + I + D);

	    // E) HIZ SINIRLAMA
	    if (pwm_cikis > eklem->max_hiz) pwm_cikis = eklem->max_hiz;
	    if (pwm_cikis < -eklem->max_hiz) pwm_cikis = -eklem->max_hiz;

	    // 2. ADIM: MOTOR ÇIKIŞINI TERSLEME (ELİMİZİ TERSLİYORUZ)
	    // Eğer çarpan -1 ise, biz ileri (+PWM) gitmek istediğimizde
	    // aslında motorun fiziksel geri kablolarına enerji vermeliyiz.
	    pwm_cikis = pwm_cikis * eklem->yon_carpani;

	    // F) MOTOR SÜRÜŞ
	    if (pwm_cikis > 0) { // İLERİ KANALINI SÜR
	        if (pwm_cikis < eklem->min_hiz && eklem->hata != 0) pwm_cikis = eklem->min_hiz;
	        __HAL_TIM_SET_COMPARE(eklem->pwm_timer, eklem->pwm_ch_ileri, pwm_cikis);
	        __HAL_TIM_SET_COMPARE(eklem->pwm_timer, eklem->pwm_ch_geri, 0);
	    }
	    else if (pwm_cikis < 0) { // GERİ KANALINI SÜR
	        pwm_cikis = abs(pwm_cikis); // Mutlak değer al, PWM negatif olmaz
	        if (pwm_cikis < eklem->min_hiz && eklem->hata != 0) pwm_cikis = eklem->min_hiz;
	        __HAL_TIM_SET_COMPARE(eklem->pwm_timer, eklem->pwm_ch_ileri, 0);
	        __HAL_TIM_SET_COMPARE(eklem->pwm_timer, eklem->pwm_ch_geri, pwm_cikis);
	    }
	    else { // DUR
	        __HAL_TIM_SET_COMPARE(eklem->pwm_timer, eklem->pwm_ch_ileri, 0);
	        __HAL_TIM_SET_COMPARE(eklem->pwm_timer, eklem->pwm_ch_geri, 0);
	    }
	}
// --- YENİ YUMUŞAK HAREKET FONKSİYONU ---
void Hedefe_Yavas_Git(float aci0, float aci1, float aci2, float aci3, int bekleme_hizi_ms) {
    float mevcut_acilar[4];
    float hedef_acilar[4] = {aci0, aci1, aci2, aci3};
    float farklar[4];
    float adimlar[4];
    int en_buyuk_adim_sayisi = 0;

    // 1. Mevcut durum ile hedef arasındaki farkı analiz et
    for(int i=0; i<4; i++) {
        mevcut_acilar[i] = robot[i].anlik_aci;
        farklar[i] = hedef_acilar[i] - mevcut_acilar[i];

        // Hassasiyet ayarı: 0.5 derece parçalara böl
        int adim_sayisi = abs((int)(farklar[i] / 2.0f));
        if(adim_sayisi > en_buyuk_adim_sayisi) en_buyuk_adim_sayisi = adim_sayisi;
    }

    // 2. Her motorun adım büyüklüğünü belirle
    for(int i=0; i<4; i++) {
        if(en_buyuk_adim_sayisi > 0)
            adimlar[i] = farklar[i] / (float)en_buyuk_adim_sayisi;
        else
            adimlar[i] = 0;
    }

    // 3. ADIM ADIM İLERLE (RAMPING)
    for(int k=0; k < en_buyuk_adim_sayisi; k++) {
        for(int i=0; i<4; i++) {
            // Hedefi minik minik kaydır
            robot[i].hedef_aci = mevcut_acilar[i] + (adimlar[i] * (k+1));
            // Pulse değerini güncelle
            robot[i].hedef_pulse = (int32_t)(robot[i].hedef_aci * ADIM_KATSAYISI);

            // PID'yi çalıştır ki motor o konuma gitsin
            Motor_Guncelle(&robot[i]);
        }
        // Buradaki bekleme süresi hareketi yumuşatır (Soft geçiş)
        Aktif_Bekle(bekleme_hizi_ms);
    }

    // 4. SON KİLİTLEME (Küsurat hatasını temizle)
    for(int i=0; i<4; i++) {
        robot[i].hedef_aci = hedef_acilar[i];
        robot[i].hedef_pulse = (int32_t)(hedef_acilar[i] * ADIM_KATSAYISI);
    }

    // Varana kadar son bir bekleme (Emin olmak için)
    Hareketi_Tamamla();
}
// --- YENİ TERS KİNEMATİK SÜRÜCÜSÜ (SOFT HAREKET) ---
void IK_ile_Yavas_Git(float x, float y, float z, float phi_derece, int bekleme_hizi_ms) {

    // 1. MATEMATİK HESAPLARI (Senin eski kodun aynısı)
    float phi_rad = phi_derece * DEG2RAD;
    float theta1_rad = atan2f(y, x);
    float theta1_deg = theta1_rad * RAD2DEG;

    float r_toplam = sqrtf(x*x + y*y);
    float r_wrist = r_toplam - (A4_BILEK_UZUNLUK * cosf(phi_rad));
    float z_wrist = (z - D1_BASE_YUKSEKLIK) - (A4_BILEK_UZUNLUK * sinf(phi_rad));

    float h_kare = (r_wrist * r_wrist) + (z_wrist * z_wrist);
    float h = sqrtf(h_kare);

    // Kosinüs Teoremi
    float pay1 = (A3_DIRSEK_UZUNLUK*A3_DIRSEK_UZUNLUK) - (A2_OMUZ_UZUNLUK*A2_OMUZ_UZUNLUK) - h_kare;
    float payda1 = -2 * A2_OMUZ_UZUNLUK * h;

    // Sıfıra bölme hatası koruması
    if(payda1 == 0) return;

    float cos_beta1 = pay1 / payda1;

    float pay2 = h_kare - (A2_OMUZ_UZUNLUK*A2_OMUZ_UZUNLUK) - (A3_DIRSEK_UZUNLUK*A3_DIRSEK_UZUNLUK);
    float payda2 = -2 * A2_OMUZ_UZUNLUK * A3_DIRSEK_UZUNLUK;
    float cos_beta2 = pay2 / payda2;

    // Kapsama Alanı Kontrolü (Robotun boyu yetiyor mu?)
    if(cos_beta1 < -1.0f || cos_beta1 > 1.0f || cos_beta2 < -1.0f || cos_beta2 > 1.0f) {
        // HATA: Hedef nokta erişilemez!
        // Güvenlik için fonksiyonu burada durduruyoruz.
        return;
    }

    float beta1 = acosf(cos_beta1);
    float beta2 = acosf(cos_beta2);
    float alpha = atan2f(z_wrist, r_wrist);

    float theta2_deg = (alpha + beta1) * RAD2DEG;
    float theta3_deg = -1 * (180.0f - (acosf(cos_beta2) * RAD2DEG));
    float theta4_deg = phi_derece - theta2_deg - theta3_deg;

    // 2. YUMUŞAK HAREKET EMRİ
    // Hesaplanan açıları ve Ofsetleri "Yavaş Git" fonksiyonuna veriyoruz.
    // bekleme_hizi_ms: Hareketin ne kadar "ağır çekim" olacağını belirler.

    Hedefe_Yavas_Git(theta1_deg + OFFSET_TABAN,
                     theta2_deg + OFFSET_OMUZ,
                     theta3_deg + OFFSET_DIRSEK,
                     theta4_deg + OFFSET_BILEK,
                     bekleme_hizi_ms);
}

// --- 2. SENKRON HAREKET ---
void Robotu_Senkron_Tasi(float aci0, float aci1, float aci2, float aci3) {
    float hedefler[4] = {aci0, aci1, aci2, aci3};
    int32_t farklar[4];
    int32_t en_uzun_yol = 0;
    int GENEL_MAX_HIZ = 700; // Güvenli Hız

    for(int i=0; i<4; i++) {
        int32_t hedef_pulse_hesap = (int32_t)(hedefler[i] * ADIM_KATSAYISI);
        farklar[i] = abs(hedef_pulse_hesap - robot[i].anlik_pulse);
        if(farklar[i] > en_uzun_yol) en_uzun_yol = farklar[i];
    }

    for(int i=0; i<4; i++) {
        if(en_uzun_yol > 0) {
            // Hareket Modu
            int yeni_hiz = (farklar[i] * GENEL_MAX_HIZ) / en_uzun_yol;
            if(yeni_hiz < robot[i].min_hiz && farklar[i] > 20) yeni_hiz = robot[i].min_hiz;
            robot[i].max_hiz = yeni_hiz;
        } else {
            // HOLD MODU: Yol bittiyse SALMA! Tam güçle tut.
            robot[i].max_hiz = 900;
        }

        robot[i].hedef_aci = hedefler[i];
        robot[i].hedef_pulse = (int32_t)(hedefler[i] * ADIM_KATSAYISI);
    }
}

// --- 3. VARIŞ KONTROLÜ ---
int Hareket_Tamamlandi_Mi() {
    int varan_sayisi = 0;
    int tolerans = 40;
    for(int i=0; i<4; i++) {
        if(abs(robot[i].hata) < tolerans) varan_sayisi++;
    }
    return (varan_sayisi == 4) ? 1 : 0;
}

// --- 4. TERS KİNEMATİK (IK) ---
void IK_Git(float x, float y, float z, float phi_derece) {
    float phi_rad = phi_derece * DEG2RAD;
    float theta1_rad = atan2f(y, x);
    float theta1_deg = theta1_rad * RAD2DEG;

    float r_toplam = sqrtf(x*x + y*y);
    float r_wrist = r_toplam - (A4_BILEK_UZUNLUK * cosf(phi_rad));
    float z_wrist = (z - D1_BASE_YUKSEKLIK) - (A4_BILEK_UZUNLUK * sinf(phi_rad));

    float h_kare = (r_wrist * r_wrist) + (z_wrist * z_wrist);
    float h = sqrtf(h_kare);

    float cos_beta1 = ( (A3_DIRSEK_UZUNLUK*A3_DIRSEK_UZUNLUK) - (A2_OMUZ_UZUNLUK*A2_OMUZ_UZUNLUK) - h_kare ) / (-2 * A2_OMUZ_UZUNLUK * h);
    float cos_beta2 = ( h_kare - (A2_OMUZ_UZUNLUK*A2_OMUZ_UZUNLUK) - (A3_DIRSEK_UZUNLUK*A3_DIRSEK_UZUNLUK) ) / (-2 * A2_OMUZ_UZUNLUK * A3_DIRSEK_UZUNLUK);

    if(cos_beta1 < -1.0f || cos_beta1 > 1.0f || cos_beta2 < -1.0f || cos_beta2 > 1.0f) return;

    float beta1 = acosf(cos_beta1);
    float beta2 = acosf(cos_beta2);
    float alpha = atan2f(z_wrist, r_wrist);

    float theta2_deg = (alpha + beta1) * RAD2DEG;

    // Dirsek Yön Düzeltmesi (Dış Açı)
    float theta3_deg = -1 * (180.0f - (acosf(cos_beta2) * RAD2DEG));

    float theta4_deg = phi_derece - theta2_deg - theta3_deg;

    // OFSETLERİ EKLEYEREK GÖNDER
    Robotu_Senkron_Tasi(theta1_deg + OFFSET_TABAN,
                        theta2_deg + OFFSET_OMUZ,
                        theta3_deg + OFFSET_DIRSEK,
                        theta4_deg + OFFSET_BILEK);
}

// --- 5. EKSİK OLAN KONUM FONKSİYONLARI (BUNLAR EKLENDİ!) ---

// YARDIMCI: Hareketi başlatır ve bitene kadar sistemi kilitler
void Hareketi_Tamamla(void) {
    // 1. İlk hesaplama tekmesi (Hata güncellensin diye)
    for(int i=0; i<4; i++) Motor_Guncelle(&robot[i]);
    HAL_Delay(10);

    // 2. Varana kadar bekle (Smart Delay)
    while(Hareket_Tamamlandi_Mi() == 0) {
        for(int i=0; i<4; i++) Motor_Guncelle(&robot[i]);
        HAL_Delay(10);
    }
    // 3. Vardıktan sonra azıcık durulması için opsiyonel bekleme
    Aktif_Bekle(500);
}

// 1. HOME (Güvenli Bekleme)
void Git_Home(void) {
    // (X=219, Y=0, Z=55) | Phi: -50
//	IK_Git(257.0f, 0.0f, 105.0f, -45.0f);
  //  Hareketi_Tamamla();
    // X=257, Y=0, Z=105, Phi=-45, Hız=10 (Orta Hız)
     //   IK_ile_Yavas_Git(270.0f, 0.0f, 100.0f, -45.0f, 35);
	IK_ile_Yavas_Git(268.0f, 0.0f, 20.0f, -58.15f, 35);
        Aktif_Bekle(500);
}

// 2. HAZNE (Alma Pozisyonu)
void Git_Hazne(void) {
    // (X=283, Y=0, Z=-65) | Phi: -60
//    IK_Git(177.0f, 0.0f, -106.0f, -114.0f);
//    Hareketi_Tamamla();
    // X=177, Y=0, Z=-106, Phi=-114, Hız=20 (Çok Yavaş ve Güçlü İniş)
        // Hazneye inerken "20" verdim ki yerçekimiyle kapışırken acele etmesin.
  //    IK_ile_Yavas_Git(335.0f, 0.0f, 5.0f, -57.5f, 35);
	IK_ile_Yavas_Git(292.0f, 0.0f, -32.0f, -75.6f, 35);

        // Vardıktan sonra tutması için:
        Aktif_Bekle(500);
}

// 3. KUTU 1 (Uzak Sağ)
void Git_Kutu_1(void) {
    // (X=193, Y=-88, Z=-16) | Phi: -75
  //  IK_Git(193.0f, -88.0f, -16.0f, -75.0f);
 //   Hareketi_Tamamla();

	// 1. ADIM: Önce Sadece Tabanı Döndür (-41.4 Dereceye)
	    // Diğer motorları kilitle (anlik_aci)
	    Hedefe_Yavas_Git(-41.45f, robot[1].anlik_aci, robot[2].anlik_aci, robot[3].anlik_aci, 35);

	    Aktif_Bekle(1000); // Sarsıntı sönümleme

	    // 2. ADIM: Kolu Uzat (XYZ Hesabı)
	    // Bu açılar şu koordinata denk geliyor:
	    // X=210, Y=-185, Z=-62 | Phi=-65.8
	    // (Y değeri taban açısı -41.4 olduğu için X ile orantılı çıkar)

	    // Biz IK fonksiyonuna "r" (uzanma mesafesi) veriyoruz gibi düşünebilirsin.
	    // Hesaplanan Uzanma (R): 280mm
	//    IK_ile_Yavas_Git(210.0f, -185.0f, -62.0f, -65.8f, 20); eski
	    Aktif_Bekle(500);
}

// 4. KUTU 2 (Uzak Sol)
void Git_Kutu_2(void) {
    // (X=193, Y=88, Z=-16) | Phi: -75
//    IK_Git(193.0f, 88.0f, -16.0f, -75.0f);
 //   Hareketi_Tamamla();
	// 1. ADIM: Tabanı Döndür (32.49 Dereceye)
	    Hedefe_Yavas_Git(45.0f, robot[1].anlik_aci, robot[2].anlik_aci, robot[3].anlik_aci, 35);

	    Aktif_Bekle(1000);

	    // 2. ADIM: Kolu Uzat
	    // Kutu 2, 3 ve 4 aynı uzaklıkta (Sadece taban dönüyor).
	    // Bu çok stabil bir hareket sağlar.
	    // Hesaplanan Uzanma (R): 335mm | Z: -42mm | Phi: -65.0

	//    IK_ile_Yavas_Git(282.0f, 180.0f, -42.0f, -65.0f, 20); eski

	    Aktif_Bekle(500);
}

// 5. KUTU 3 (Yakın Sol - Dik İniş)
void Git_Kutu_3(void) {
    // (X=93, Y=74, Z=-16) | Phi: -90
  //  IK_Git(93.0f, 74.0f, -16.0f, -90.0f);
  //  Hareketi_Tamamla();
	// 1. ADIM: Tabanı Döndür (56.06 Dereceye)
	    Hedefe_Yavas_Git(65.0f, robot[1].anlik_aci, robot[2].anlik_aci, robot[3].anlik_aci, 35);

	    Aktif_Bekle(1000);

	    // 2. ADIM: Kolu Uzat
	    // Açıları Kutu 2 ile aynı olduğu için Z ve Phi aynı.
	    // Sadece X ve Y bileşenleri taban açısına göre değişti.
//	    IK_ile_Yavas_Git(203.0f, 266.0f, -42.0f, -65.0f, 20); eski

	    Aktif_Bekle(500);
}

// 6. KUTU 4 (Yakın Sağ - Dik İniş)
void Git_Kutu_4(void) {
    // (X=93, Y=-74, Z=-16) | Phi: -90
  //  IK_Git(93.0f, -74.0f, -16.0f, -90.0f);
  //  Hareketi_Tamamla();
	// 1. ADIM: Tabanı Döndür (-58.69 Dereceye)
	    Hedefe_Yavas_Git(-62.69f, robot[1].anlik_aci, robot[2].anlik_aci, robot[3].anlik_aci, 35);

	    Aktif_Bekle(1000);

	    // 2. ADIM: Kolu Uzat
	    // Yine aynı kol duruşu, sadece taban farklı.
//	    IK_ile_Yavas_Git(191.0f, -275.0f, -42.0f, -65.0f, 20); eski

	    Aktif_Bekle(500);
}

// --- 6. ESKİ SENARYO DÖNGÜSÜ (Gerekirse) ---
void Senaryoyu_Baslat(void) {
    while(1) {
        Git_Home();
        Git_Hazne();
        Git_Home();
        Git_Kutu_1();
    }
}

// YENİ FONKSİYON: Hem bekle hem de PID ile kolu tut!
void Aktif_Bekle(int sure_ms) {
    uint32_t baslangic = HAL_GetTick();

    // Süre dolana kadar döngüde kal
    while((HAL_GetTick() - baslangic) < sure_ms) {
        // Motorları sürekli güncelle (Düşmemesi için)
        for(int i=0; i<4; i++) Motor_Guncelle(&robot[i]);

        HAL_Delay(1); // PID örnekleme hızı
    }
}

// --- DATASHEET UYUMLU BAŞLATMA VE TEST ---
void TCS34725_Baslat(void) {
    uint8_t data[2];

    // 1. ADIM: SENSÖR VAR MI? (ID OKUMA)
    // 0x12 adresindeki veriyi oku. TCS34725 ise 0x44 (68) dönmeli.
    uint8_t cmd = TCS34725_COMMAND | TCS34725_ID;
    HAL_I2C_Master_Transmit(&hi2c1, TCS34725_ADDRESS, &cmd, 1, 100);
    HAL_I2C_Master_Receive(&hi2c1, TCS34725_ADDRESS, &sensor_id, 1, 100);

    if(sensor_id != 0x44 && sensor_id != 0x4D) {
        // HATA! Tanınmayan sensör veya bağlantı kopuk.
        return;
    }

    // 2. ADIM: POWER ON (Sadece Güç Ver)
    data[0] = TCS34725_COMMAND | TCS34725_ENABLE;
    data[1] = 0x01; // PON (Power ON) biti 1
    HAL_I2C_Master_Transmit(&hi2c1, TCS34725_ADDRESS, data, 2, 100);

    // 3. ADIM: BEKLEME (Datasheet: Min 2.4ms bekle)
    HAL_Delay(5);

    // 4. ADIM: ADC ENABLE (Ölçümü Başlat)
    data[0] = TCS34725_COMMAND | TCS34725_ENABLE;
    data[1] = 0x03; // PON (1) + AEN (1) = 0x03
    HAL_I2C_Master_Transmit(&hi2c1, TCS34725_ADDRESS, data, 2, 100);

    // 5. ADIM: HASSASİYET AYARI (Integration Time)
    // 0xEB = ~60ms okuma süresi (Standart)
    data[0] = TCS34725_COMMAND | TCS34725_ATIME;
    data[1] = 0xEB;
    HAL_I2C_Master_Transmit(&hi2c1, TCS34725_ADDRESS, data, 2, 100);
}

// --- YARDIMCI FONKSİYONLAR ---
void Servo_Pulse_Ver(uint32_t pulse) {
    __HAL_TIM_SET_COMPARE(SERVO_TIMER, SERVO_KANAL, pulse);
}

// --- 1. KISKACI AÇMA FONKSİYONU ---
void Gripper_Ac(void) {
    // 1. Motoru Başlat (Attach)
    HAL_TIM_PWM_Start(SERVO_TIMER, SERVO_KANAL);

    // 2. Açılma Yönüne Dön
    Servo_Pulse_Ver(SERVO_AC_PULSE);
    Aktif_Bekle(550);   // <--- DOĞRUSU BU (PID çalışmaya devam eder)

    // 3. Durdur (Fren Yap)
    Servo_Pulse_Ver(SERVO_DUR_PULSE);
    Aktif_Bekle(550);   // <--- DOĞRUSU BU (PID çalışmaya devam eder)

    // 4. Enerjiyi Kes (Detach) - Motor soğur, ses yapmaz
    HAL_TIM_PWM_Stop(SERVO_TIMER, SERVO_KANAL);
}

// --- 2. KISKACI KAPATMA FONKSİYONU ---
void Gripper_Kapat(void) {
    // 1. Motoru Başlat
    HAL_TIM_PWM_Start(SERVO_TIMER, SERVO_KANAL);

    // 2. Kapanma Yönüne Dön
    Servo_Pulse_Ver(SERVO_KAPAT_PULSE);
    Aktif_Bekle(1400);   // <--- DOĞRUSU BU (PID çalışmaya devam eder)

    // 3. Durdur
 //   Servo_Pulse_Ver(SERVO_DUR_PULSE);
    Servo_Pulse_Ver(1450);
    Aktif_Bekle(1000);   // <--- DOĞRUSU BU (PID çalışmaya devam eder)

    // 4. Enerjiyi Kes
 //   HAL_TIM_PWM_Stop(SERVO_TIMER, SERVO_KANAL);
}

void TCS34725_Oku(void) {
	uint8_t buffer[8];

	    // Hacım burası kritik: 0x80 yerine 0xA0 kullanıyoruz.
	    // 0xA0 = (CMD Biti | Auto-Increment Biti)
	    // Böylece sensör 0x14, 0x15, 0x16... diye sırayla okur.
	    uint8_t reg_addr = 0xA0 | TCS34725_CDATAL;

	    // Adresi gönder (Auto-Increment komutuyla)
	    HAL_I2C_Master_Transmit(&hi2c1, TCS34725_ADDRESS, &reg_addr, 1, 100);

	    // 8 Byte veriyi peş peşe çek
	    HAL_I2C_Master_Receive(&hi2c1, TCS34725_ADDRESS, buffer, 8, 100);

	    // Verileri Birleştir
	    renk_clear   = (buffer[1] << 8) | buffer[0];
	    renk_kirmizi = (buffer[3] << 8) | buffer[2];
	    renk_yesil   = (buffer[5] << 8) | buffer[4];
	    renk_mavi    = (buffer[7] << 8) | buffer[6];
	}

int Sensor_Kutu_Var_Mi(void) {
    TCS34725_Oku();
    // Eşik değeri 300 (Ortam ışığına göre değiştir)
    return (renk_clear > 300) ? 1 : 0;
}

// --- GELİŞMİŞ RENK AYIRT ETME ---
// Dönüş Değerleri:
// 0: Kutu Yok (Boş)
// 1: KIRMIZI (Kutu 1)
// 2: MAVİ    (Kutu 2)
// 3: YEŞİL   (Kutu 3)
// 4: SARI    (Kutu 4 - Kırmızı ve Yeşilin karışımı)

int Rengi_Analiz_Et(void) {
    // 1. Taze veri oku
    TCS34725_Oku();
    Aktif_Bekle(300);

    // 2. Kutu Var mı Kontrolü (Clear kanalına bakıyoruz)
    // EŞİK AYARI: Ortam ışığında 50-100 okuyorsa, kutu gelince 300+ okur.
    // Bu değeri Live Watch ile test edip güncelleyebilirsin.
    if (renk_clear < 30 || (renk_kirmizi <15 && renk_mavi < 15 && renk_yesil < 15)) {
        return 0; // Kutu Yok
    }

    // 3. Renk Karşılaştırma Mantığı (Dominant Renk Hangisi?)

    // SARI KONTROLÜ (En gıcık renk budur)
    // Sarı = Çok Kırmızı + Çok Yeşil + Az Mavi
    // Eğer Kırmızı ve Yeşil birbirine yakın ve Mavi'den çok büyükse -> SARI
    if (renk_kirmizi > renk_mavi + 100 && renk_yesil > renk_mavi + 100 && renk_clear < 500) {
        return 1; // Sarı (Kutu 4'e gitsin)
    }

    // KIRMIZI KONTROLÜ
    else if (renk_kirmizi > renk_yesil && renk_kirmizi > renk_mavi && renk_clear < 500) {
        return 1; // Kırmızı (Kutu 1)
    }

    // MAVİ KONTROLÜ
    else if (renk_mavi > renk_kirmizi && renk_mavi > renk_yesil && renk_clear < 500) {
        return 2; // Mavi (Kutu 2)
    }

    // YEŞİL KONTROLÜ
    else if (renk_yesil > renk_kirmizi && renk_yesil > renk_mavi && renk_clear < 500) {
        return 3; // Yeşil (Kutu 3)
    }

    // Hiçbiri değilse ama kutu varsa (Bilinmeyen Renk)
    else if(renk_clear > 500){
        return 4; // Diğerleri 4'e gitsin
    }
}
/* USER CODE END 4 */

void Error_Handler(void)
{
  __disable_irq();
  while (1)
  {
  }
}
